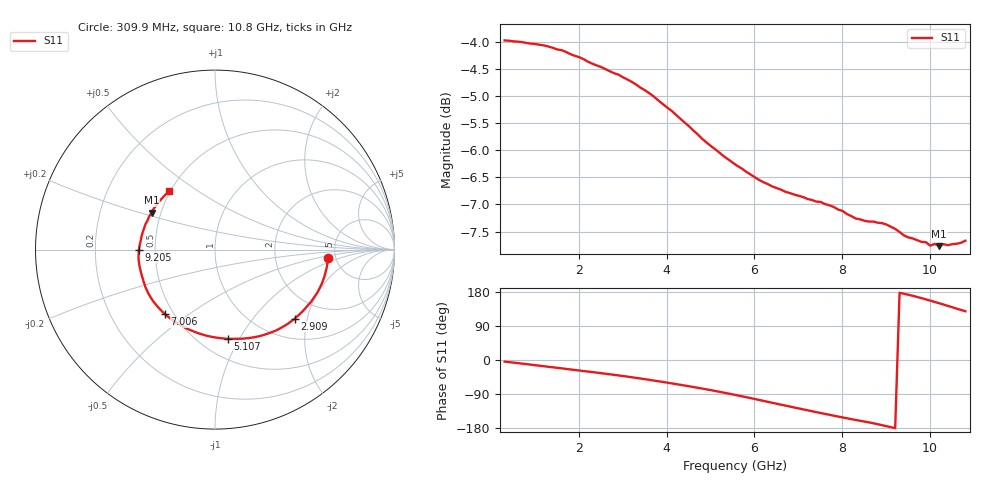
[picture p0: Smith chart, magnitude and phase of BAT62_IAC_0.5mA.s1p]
! Infineon Technologies  Discrete & RF Semiconductors
! BAT62
! IAC = 0.5 mA
! One-Port S-Parameters
# Hz  S  MA  R  50
!f  S11
!Hz  Mag  Ang
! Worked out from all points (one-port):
!   106 points, 309.9 MHz to 10.8 GHz, reference 50 ohm
!   lowest |S11| = -7.8 dB at 10.2 GHz (marker M1), VSWR 2.38, Z = 22.2 + j10.9 ohm
!   |S11| at or under -10 dB: nowhere
!   S11 on the Smith chart (normalised r, x): 309.9 MHz: 4.33, -0.66; 2.909 GHz: 1.44, -1.69; 5.107 GHz: 0.67, -0.90; 7.006 GHz: 0.45, -0.41; 9.205 GHz: 0.40, -0.00; 10.8 GHz: 0.49, +0.38
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3.0985e8  0.6324 -4.2
1.0095e9  0.6276 -13.8
1.70915e9  0.6171 -23.5
2.4088e9  0.5998 -33.3
2.90855e9  0.5881 -40.8
3.0085e9  0.5847 -42.3
3.4083e9  0.572 -48.9
3.70815e9  0.5615 -54.2
4.30785e9  0.5359 -65.4
4.70765e9  0.5183 -73.3
5.10745e9  0.5021 -81.8
5.6072e9  0.4848 -93.3
5.90705e9  0.4761 -100.4
6.30685e9  0.4663 -110.4
6.90655e9  0.4561 -125.3
7.0065e9  0.4549 -127.7
7.4063e9  0.4494 -137.6
7.6062e9  0.4471 -142.3
8.006e9  0.4406 -151.6
8.2059e9  0.4358 -156.1
8.70565e9  0.4308 -166.9
9.0055e9  0.428 -174.5
9.2054e9  0.4241 -180.0
9.50525e9  0.4165 172.1
9.90505e9  0.4123 160.0
1.02049e10  0.4089 149.9
1.050475e10  0.4106 139.3
1.08046e10  0.4136 128.5
